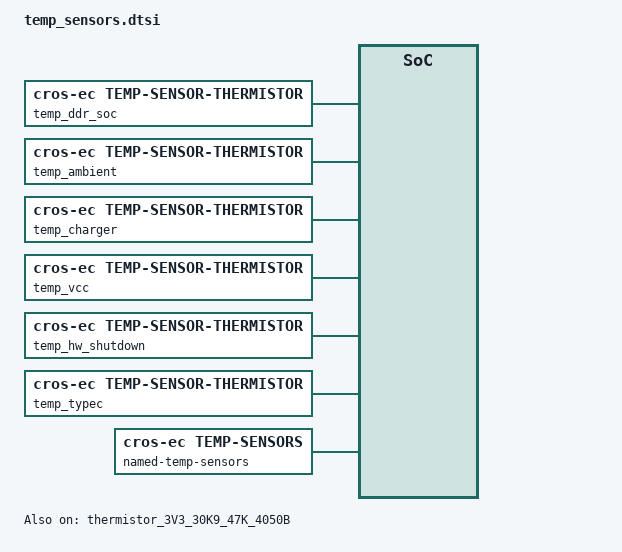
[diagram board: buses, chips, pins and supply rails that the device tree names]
/* Copyright 2022 The ChromiumOS Authors
 * Use of this source code is governed by a BSD-style license that can be
 * found in the LICENSE file.
 */

#include <cros/thermistor/thermistor.dtsi>

/ {
	named-adc-channels {
		compatible = "named-adc-channels";

		adc_ddr_soc: ddr_soc {
			enum-name = "ADC_TEMP_SENSOR_1";
			io-channels = <&adc0 0>;
		};
		adc_vcc: vcc {
			enum-name = "ADC_TEMP_SENSOR_2";
			io-channels = <&adc0 1>;
		};
		adc_ambient: ambient {
			enum-name = "ADC_TEMP_SENSOR_3";
			io-channels = <&adc0 8>;
		};
		adc_charger: charger {
			enum-name = "ADC_TEMP_SENSOR_4";
			io-channels = <&adc0 7>;
		};
		adc_hw_shutdown: hw_shutdown {
			enum-name = "ADC_TEMP_SENSOR_5";
			io-channels = <&adc0 3>;
		};
		adc_typec: typec {
			enum-name = "ADC_TEMP_SENSOR_6";
			io-channels = <&adc0 11>;
		};
	};

	temp_ddr_soc: ddr_soc {
		compatible = "cros-ec,temp-sensor-thermistor";
		thermistor = <&thermistor_3V3_30K9_47K_4050B>;
		adc = <&adc_ddr_soc>;
	};
	temp_ambient: ambient {
		compatible = "cros-ec,temp-sensor-thermistor";
		thermistor = <&thermistor_3V3_30K9_47K_4050B>;
		adc = <&adc_ambient>;
	};
	temp_charger: charger {
		compatible = "cros-ec,temp-sensor-thermistor";
		thermistor = <&thermistor_3V3_30K9_47K_4050B>;
		adc = <&adc_charger>;
	};
	temp_vcc: vcc {
		compatible = "cros-ec,temp-sensor-thermistor";
		thermistor = <&thermistor_3V3_30K9_47K_4050B>;
		adc = <&adc_vcc>;
	};
	temp_hw_shutdown: hw_shutdown {
		compatible = "cros-ec,temp-sensor-thermistor";
		thermistor = <&thermistor_3V3_30K9_47K_4050B>;
		adc = <&adc_hw_shutdown>;
	};
	temp_typec: typec {
		compatible = "cros-ec,temp-sensor-thermistor";
		thermistor = <&thermistor_3V3_30K9_47K_4050B>;
		adc = <&adc_typec>;
	};

	named-temp-sensors {
		compatible = "cros-ec,temp-sensors";
		ddr_soc {
			temp_fan_off = <50>;
			temp_fan_max = <80>;
			temp_host_high = <90>;
			temp_host_halt = <95>;
			temp_host_release_high = <85>;
			sensor = <&temp_ddr_soc>;
		};
		ambient {
			temp_fan_off = <35>;
			temp_fan_max = <80>;
			temp_host_high = <90>;
			temp_host_halt = <95>;
			temp_host_release_high = <85>;
			sensor = <&temp_ambient>;
		};
		charger {
			temp_fan_off = <50>;
			temp_fan_max = <85>;
			temp_host_high = <95>;
			temp_host_halt = <100>;
			temp_host_release_high = <90>;
			sensor = <&temp_charger>;
		};
		typec {
			temp_fan_off = <50>;
			temp_fan_max = <85>;
			temp_host_high = <90>;
			temp_host_halt = <95>;
			temp_host_release_high = <85>;
			sensor = <&temp_typec>;
		};
		vcc_in {
			temp_fan_off = <45>;
			temp_fan_max = <75>;
			temp_host_high = <85>;
			temp_host_halt = <90>;
			temp_host_release_high = <80>;
			sensor = <&temp_vcc>;
		};
	};
};

&thermistor_3V3_30K9_47K_4050B {
	status = "okay";
};
